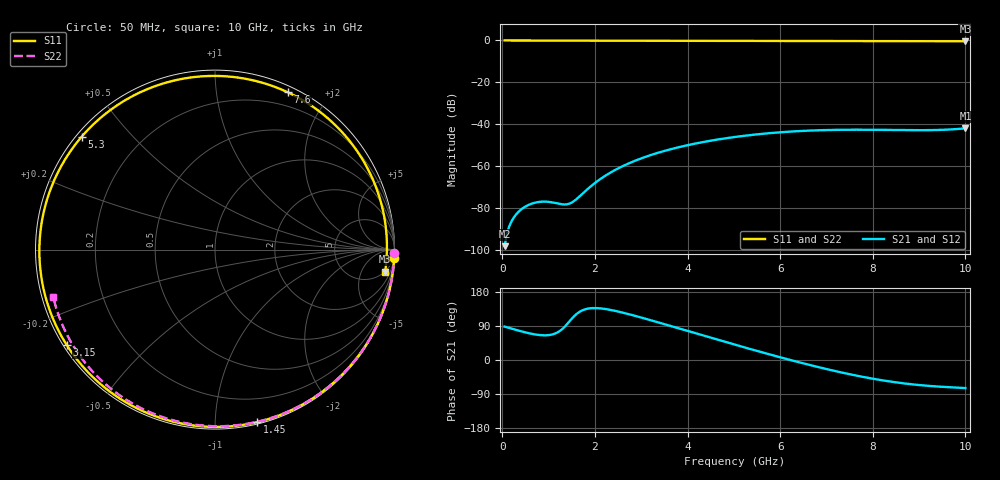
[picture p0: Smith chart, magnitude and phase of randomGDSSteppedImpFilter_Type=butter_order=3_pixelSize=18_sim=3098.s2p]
! freq	dB(S11)	phase(S11)	dB(S12)	phase(S12)
!  dB(S21)	phase(S21)	dB(S22)	phase(S22)
!S-par simulation data
#  GHz  S  DB  R 50
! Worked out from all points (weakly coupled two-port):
!   200 points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, 50 MHz to 10 GHz, reference 50 ohm
!   highest |S21| = -41.87 dB at 10 GHz (marker M1); lowest = -98.0 dB at 50 MHz (marker M2)
!   lowest |S11| = -0.4 dB at 10 GHz (marker M3), VSWR 44.31, Z = 244 - j692 ohm
!   |S11| at or under -10 dB: nowhere
!   |S22| runs from -0.5 to 0.0 dB; largest |S21 - S12| = 0
!   S11 on the Smith chart (normalised r, x): 50 MHz: 0, -41; 1.45 GHz: 0.01, -1.28; 3.15 GHz: 0.01, -0.29; 5.3 GHz: 0.02, +0.37; 7.6 GHz: 0.06, +1.56; 10 GHz: 5, -14
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0.05  -0.00 -2.8  -98.00 88.2  -98.00 88.2  -0.00 -1.0
0.45  -0.03 -24.8  -79.81 74.3  -79.81 74.3  -0.01 -8.5
0.8  -0.06 -43.5  -76.91 65.9  -76.91 65.9  -0.02 -15.1
1.15  -0.08 -61.4  -77.44 70.3  -77.44 70.3  -0.03 -21.6
1.45  -0.09 -76.2  -77.74 101.9  -77.74 101.9  -0.03 -27.2
1.75  -0.10 -90.2  -72.63 132.1  -72.63 132.1  -0.04 -32.7
2.05  -0.12 -103.5  -67.08 136.9  -67.08 136.9  -0.05 -38.1
2.35  -0.13 -116.1  -62.76 131.9  -62.76 131.9  -0.06 -43.5
2.75  -0.14 -132.1  -58.37 120.4  -58.37 120.4  -0.07 -50.6
3.15  -0.15 -147.2  -55.01 106.9  -55.01 106.9  -0.08 -57.6
3.4  -0.16 -156.3  -53.26 98.1  -53.26 98.1  -0.08 -61.9
3.8  -0.18 -170.4  -50.91 83.8  -50.91 83.8  -0.09 -68.7
4.2  -0.19 176.0  -48.98 69.5  -48.98 69.5  -0.11 -75.4
5.05  -0.23 147.9  -45.90 39.4  -45.90 39.4  -0.14 -89.2
5.3  -0.23 139.8  -45.22 30.8  -45.22 30.8  -0.15 -93.1
6  -0.26 117.1  -43.75 7.2  -43.75 7.2  -0.18 -104.0
6.7  -0.28 94.3  -42.88 -15.0  -42.88 -15.0  -0.22 -114.6
7.15  -0.29 79.7  -42.61 -28.2  -42.61 -28.2  -0.25 -121.4
7.6  -0.30 65.2  -42.52 -40.1  -42.52 -40.1  -0.29 -128.0
8.35  -0.32 41.3  -42.64 -56.3  -42.64 -56.3  -0.36 -139.1
9.15  -0.34 16.9  -42.74 -67.7  -42.74 -67.7  -0.44 -150.9
10  -0.39 -7.4  -41.87 -74.1  -41.87 -74.1  -0.55 -163.7
